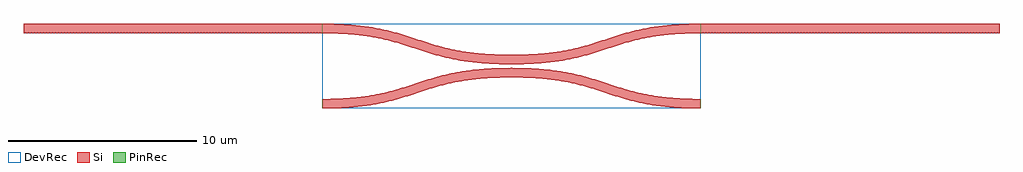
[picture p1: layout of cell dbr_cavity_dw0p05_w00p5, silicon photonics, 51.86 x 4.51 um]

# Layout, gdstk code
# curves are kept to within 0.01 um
from math import pi, radians
import gdstk
lib = gdstk.Library(unit=1e-6, precision=1e-09)
def R(c, l, rs):  # rectangles x0, y0, x1, y1
    for r in rs: c.add(gdstk.rectangle(r[:2], r[2:], *l))
def P(c, l, *ps):  # polygons
    for p in ps: c.add(gdstk.Polygon(p, *l))
Si = (1, 0)
PinRec = (1, 10)
DevRec = (68, 0)

straight_f813a6eb = lib.new_cell('straight_f813a6eb')
R(straight_f813a6eb, Si, [(0,-0.262,0.079,0.262)])

straight_d44e7f39 = lib.new_cell('straight_d44e7f39')
R(straight_d44e7f39, Si, [(0,-0.238,0.079,0.238)])

dbr_cell_9773d3ab = lib.new_cell('dbr_cell_9773d3ab')
dbr_cell_9773d3ab.add(gdstk.Reference(straight_f813a6eb, (0.079,0)))
dbr_cell_9773d3ab.add(gdstk.Reference(straight_d44e7f39, (0,0)))

dbr_765913b7 = lib.new_cell('dbr_765913b7')
r = gdstk.Reference(dbr_cell_9773d3ab, (0,0)); r.repetition = gdstk.Repetition(100, 1, v1=(0.158,0), v2=(0,0)); dbr_765913b7.add(r)

straight_f53e91bd = lib.new_cell('straight_f53e91bd')
R(straight_f53e91bd, Si, [(0,-0.25,0.079,0.25)])

dbr_dw0p05 = lib.new_cell('dbr_dw0p05')
R(dbr_dw0p05, DevRec, [(-0.079,-0.262,15.8,0.262)])
dbr_dw0p05.add(gdstk.FlexPath([(-0.074,0),(-0.084,0)], 0.5, ends="flush", simple_path=True, layer=1, datatype=10))  # PinRec
dbr_dw0p05.add(gdstk.Reference(dbr_765913b7, (0,0)))
dbr_dw0p05.add(gdstk.Reference(straight_f53e91bd, (-0.079,0)))
dbr_dw0p05.add(gdstk.Label('o1', (-0.079,0), layer=1, texttype=10))

coupler_412b8e25 = lib.new_cell('coupler_412b8e25')
R(coupler_412b8e25, Si, [(0,-0.25,0.1,0.25), (0,0.45,0.1,0.95)])
P(coupler_412b8e25, Si, [(10.1,-1.9),(9.505,-1.892),(8.696,-1.851),(7.977,-1.781),(7.435,-1.702),(6.75,-1.567),(6.133,-1.41),(4.173,-0.791),(3.6,-0.633),(3.067,-0.512),(2.376,-0.394),(1.708,-0.317),(0.819,-0.262),(0.1,-0.25),(0.1,0.25),(0.695,0.242),(1.504,0.201),(2.223,0.131),(2.765,0.052),(3.45,-0.083),(4.067,-0.24),(6.027,-0.859),(6.6,-1.017),(7.133,-1.138),(7.824,-1.256),(8.492,-1.333),(9.381,-1.388),(10.1,-1.4)],
  [(0,0.45),(-0.595,0.458),(-1.404,0.499),(-2.123,0.569),(-2.665,0.648),(-3.35,0.783),(-3.967,0.94),(-5.927,1.559),(-6.5,1.717),(-7.033,1.838),(-7.724,1.956),(-8.392,2.033),(-9.281,2.088),(-10,2.1),(-10,2.6),(-9.405,2.592),(-8.596,2.551),(-7.877,2.481),(-7.335,2.402),(-6.65,2.267),(-6.033,2.11),(-4.073,1.491),(-3.5,1.333),(-2.967,1.212),(-2.276,1.094),(-1.608,1.017),(-0.719,0.962),(0,0.95)],
  [(-10,-1.9),(-10,-1.4),(-9.281,-1.388),(-8.392,-1.333),(-7.724,-1.256),(-7.033,-1.138),(-6.5,-1.017),(-5.927,-0.859),(-3.967,-0.24),(-3.35,-0.083),(-2.665,0.052),(-2.123,0.131),(-1.404,0.201),(-0.595,0.242),(0,0.25),(0,-0.25),(-0.719,-0.262),(-1.608,-0.317),(-2.276,-0.394),(-2.967,-0.512),(-3.5,-0.633),(-4.073,-0.791),(-6.033,-1.41),(-6.65,-1.567),(-7.335,-1.702),(-7.877,-1.781),(-8.596,-1.851),(-9.405,-1.892)],
  [(0.1,0.45),(0.1,0.95),(0.819,0.962),(1.708,1.017),(2.376,1.094),(3.067,1.212),(3.6,1.333),(4.173,1.491),(6.133,2.11),(6.75,2.267),(7.435,2.402),(7.977,2.481),(8.696,2.551),(9.505,2.592),(10.1,2.6),(10.1,2.1),(9.381,2.088),(8.492,2.033),(7.824,1.956),(7.133,1.838),(6.6,1.717),(6.027,1.559),(4.067,0.94),(3.45,0.783),(2.765,0.648),(2.223,0.569),(1.504,0.499),(0.695,0.458)])
R(coupler_412b8e25, DevRec, [(-10,-1.9,10.1,2.6)])
coupler_412b8e25.add(gdstk.FlexPath([(10.095,-1.65),(10.105,-1.65)], 0.5, ends="flush", simple_path=True, layer=1, datatype=10))  # PinRec
coupler_412b8e25.add(gdstk.FlexPath([(10.095,2.35),(10.105,2.35)], 0.5, ends="flush", simple_path=True, layer=1, datatype=10))  # PinRec
coupler_412b8e25.add(gdstk.FlexPath([(-9.995,-1.65),(-10.005,-1.65)], 0.5, ends="flush", simple_path=True, layer=1, datatype=10))  # PinRec
coupler_412b8e25.add(gdstk.FlexPath([(-9.995,2.35),(-10.005,2.35)], 0.5, ends="flush", simple_path=True, layer=1, datatype=10))  # PinRec
coupler_412b8e25.add(gdstk.Label('o4', (10.1,-1.65), layer=1, texttype=10))
coupler_412b8e25.add(gdstk.Label('o3', (10.1,2.35), layer=1, texttype=10))
coupler_412b8e25.add(gdstk.Label('o2', (-10,2.35), layer=1, texttype=10))
coupler_412b8e25.add(gdstk.Label('o1', (-10,-1.65), layer=1, texttype=10))

dbr_cavity_dw0p05_w00p5 = lib.new_cell('dbr_cavity_dw0p05_w00p5')
dbr_cavity_dw0p05_w00p5.add(gdstk.Reference(dbr_dw0p05, (10.179,2.35)))
dbr_cavity_dw0p05_w00p5.add(gdstk.Reference(dbr_dw0p05, (-10.079,2.35), rotation=pi))
dbr_cavity_dw0p05_w00p5.add(gdstk.Reference(coupler_412b8e25, (0,0)))

lib.write_gds('dbr_cavity_dw0p05_w00p5.gds')
